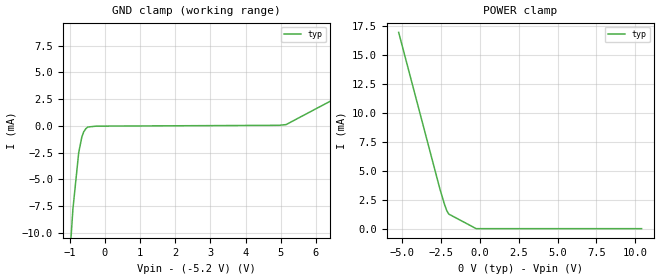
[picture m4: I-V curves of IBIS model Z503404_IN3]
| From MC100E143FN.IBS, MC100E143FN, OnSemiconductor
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| (C) COPYRIGHT 1993-2000
| MENTOR GRAPHICS CORPORATION
| ICX STANDARD LIBRARY, ICX PROJECT MODELING,
| ICX CUSTOM MODELING, ICX VENDOR MODEL
| ALL RIGHTS RESERVED.
| THE FOLLOWING ARE TRADEMARKS OR SERVICE MARKS OF
| MENTOR GRAPHICS CORPORATION:ICX (R), ICX STANDARD
| LIBRARY(R), ICX PROJECT MODELING(R), ICX CUSTOM
| MODELING(R), qualityIBIS(TM), MODELVIEWER(TM),
| AND MODELEDITOR(TM)
| ALL COPIES OF SOFTWARE, INCLUDING BUT NOT LIMITED TO
| ANY MODIFICATIONS, ENHANCEMENTS OR DERIVATIVE WORKS,
| MUST CONTAIN ALL MENTOR GRAPHICS CORPORATION'S
| NOTICES AND LEGENDS, INCLUDING THOSE EMBEDDED IN
| SOFTWARE AND THOSE AFFIXED TO SOFTWARE MEDIUM
| AND CONTAINER, AS RECEIVED FROM MENTOR GRAPHICS
| CORPORATION.
| Model Application Version 1.89 2/18/99.
[Model] Z503404_IN3
Model_type Input_ECL
Vinl = -1.480V
Vinh = -1.130V
C_comp 4.000pF NA NA
| variable typ   min   max
[Voltage Range] -5.200V NA NA
[GND Clamp Reference] -5.200V NA NA
[POWER Clamp Reference] 0.000V NA NA
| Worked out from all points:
|   GND clamp passes 1 mA (typ) near -0.65 V on its own axis
[GND Clamp]
-5.2V     -295.3mA   NA         NA
-1.057V   -15mA      NA         NA
-912mV    -7.783mA   NA         NA
-747mV    -2.492mA   NA         NA
-659mV    -1.047mA   NA         NA
-606mV    -562.4uA   NA         NA
-545mV    -261.2uA   NA         NA
-488mV    -99.59uA   NA         NA
-244mV    -19.43uA   NA         NA
4.953V    58.54uA    NA         NA
5.151V    126.1uA    NA         NA
10.4V     9.259mA    NA         NA
[POWER Clamp]
-5.2V     16.97mA    NA         NA
-2.563V   3.484mA    NA         NA
-2.279V   2.188mA    NA         NA
-2.109V   1.543mA    NA         NA
-1.978V   1.258mA    NA         NA
-458.5mV  170.2uA    NA         NA
-229.2mV  0A         NA         NA
10.4V     0A         NA         NA
